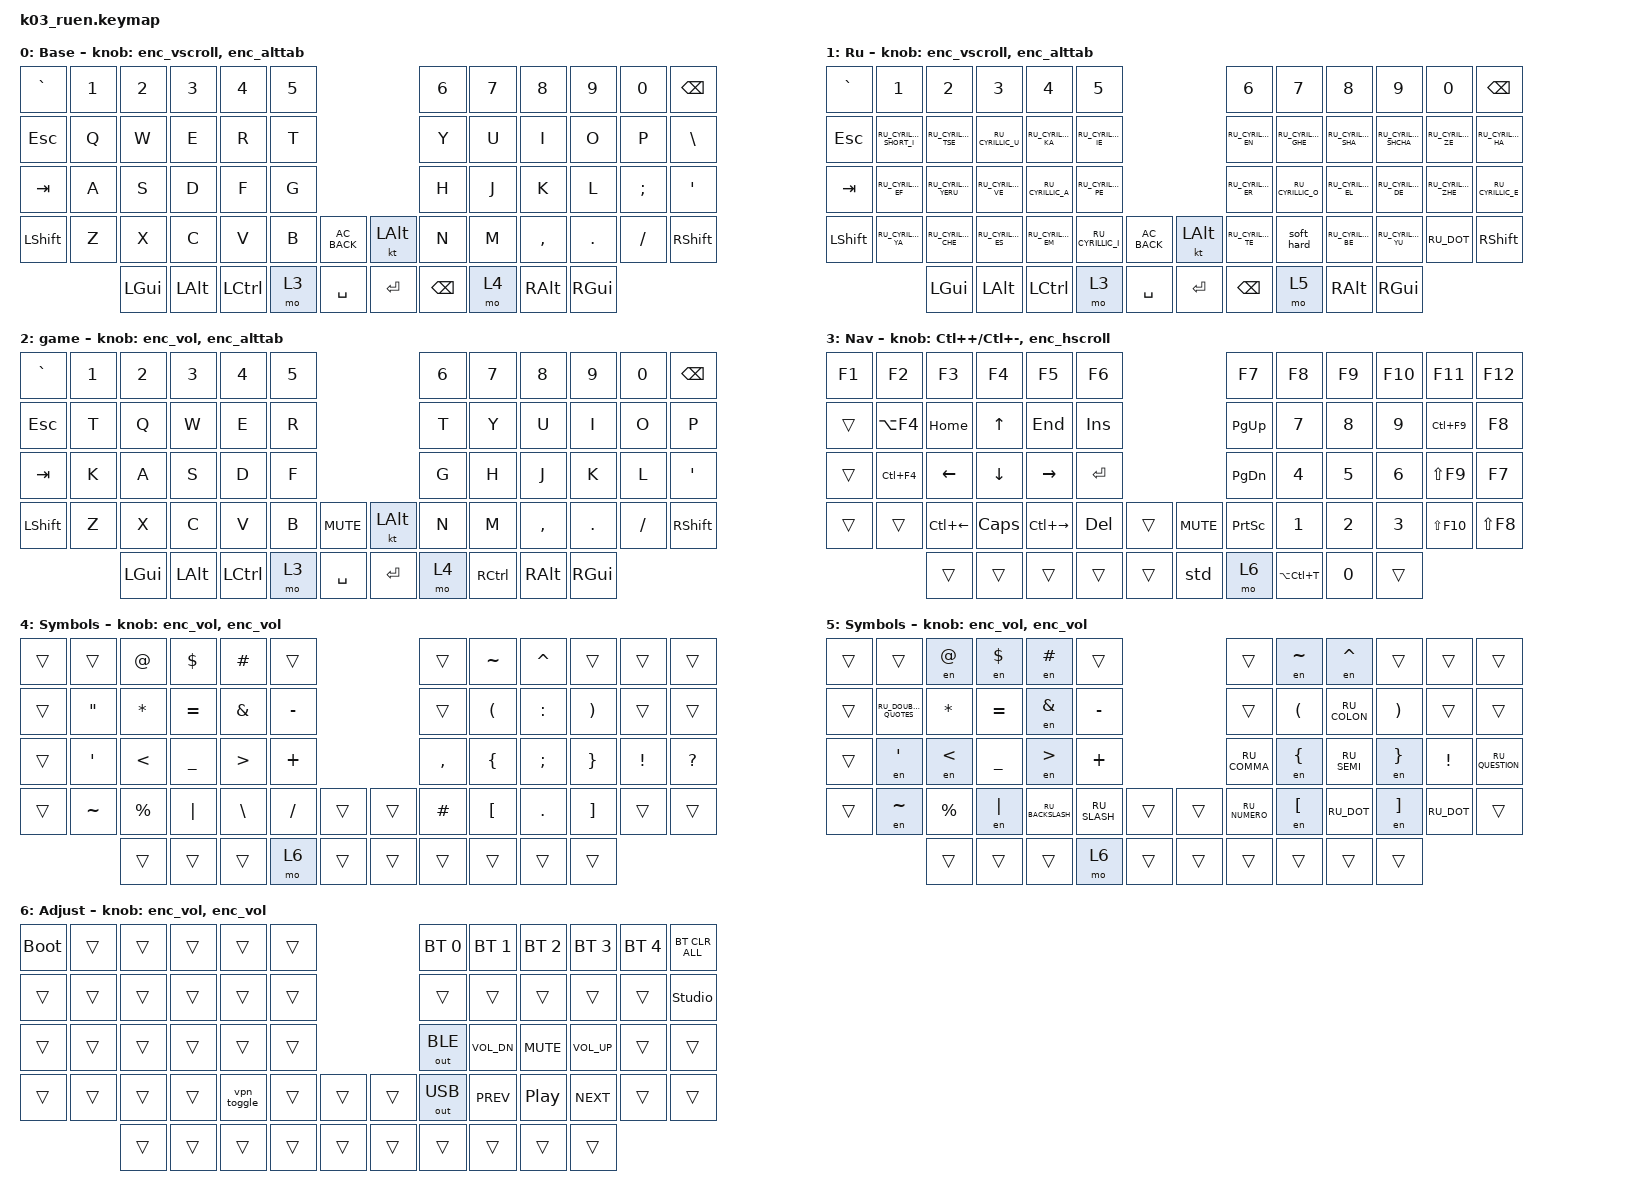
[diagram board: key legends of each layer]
#include "keys_ru.h"
#include <behaviors.dtsi>
#include <dt-bindings/zmk/bt.h>
#include <dt-bindings/zmk/keys.h>
#include <dt-bindings/zmk/outputs.h>
#include <dt-bindings/zmk/pointing.h>

/ {
    behaviors {
        enc_vol: enc_vol {
            compatible = "zmk,behavior-sensor-rotate";
            label = "ENC_VOL";
            #sensor-binding-cells = <0>;
            bindings = <&kp C_VOL_UP>, <&kp C_VOL_DN>;
        };

        enc_vscroll: enc_vscroll {
            compatible = "zmk,behavior-sensor-rotate";
            label = "ENC_VSCROLL";
            #sensor-binding-cells = <0>;
            tap-ms = <150>;
            bindings = <&msc SCRL_DOWN>, <&msc SCRL_UP>;
        };

        enc_alttab: enc_alttab {
            compatible = "zmk,behavior-sensor-rotate";
            label = "ENC_ALTTAB";
            #sensor-binding-cells = <0>;
            bindings = <&kp TAB>, <&kp LS(TAB)>;
        };

        caps_word: caps_word {
            compatible = "zmk,behavior-caps-word";
            label = "CAPS_WORD";
            #binding-cells = <0>;
            continue-list = <MINUS UNDERSCORE>;
            mods = <(MOD_LSFT|MOD_RSFT)>;
        };

        enc_hscroll: enc_hscroll {
            compatible = "zmk,behavior-sensor-rotate";
            label = "ENC_HSCROLL";
            #sensor-binding-cells = <0>;
            tap-ms = <150>;
            bindings = <&msc SCRL_RIGHT>, <&msc SCRL_LEFT>;
        };

        soft_hard: soft_hard {
            compatible = "zmk,behavior-tap-dance";
            label = "SOFT_HARD";
            #binding-cells = <0>;
            bindings = <&kp RU_CYRILLIC_SOFT_SIGN>, <&kp RU_CYRILLIC_HARD_SIGN>;
        };
    };

    combos {
        compatible = "zmk,combos";

        cmben {
            bindings = <&layer_en>;
            key-positions = <15 16>;
            layers = <1>;
            timeout-ms = <25>;
        };

        cmbru {
            bindings = <&layer_ru>;
            key-positions = <15 16>;
            layers = <0>;
            timeout-ms = <25>;
        };

        to_game {
            bindings = <&tog 2>;
            key-positions = <29 30>;
            timeout-ms = <25>;
        };

        caps_word {
            bindings = <&caps_word>;
            key-positions = <36 49>;
            layers = <0>;
        };

        caps_word_ru {
            bindings = <&kt LEFT_SHIFT>;
            key-positions = <36 49>;
            layers = <1>;
        };
    };

    macros {
        to_ru: to_ru {
            compatible = "zmk,behavior-macro";
            #binding-cells = <0>;
            bindings = <&kp LS(LC(N2))>;
            label = "TO_RU";
            wait-ms = <0>;
            tap-ms = <30>;
        };

        to_en: to_en {
            compatible = "zmk,behavior-macro";
            #binding-cells = <0>;
            bindings = <&kp LS(LC(N1))>;
            label = "TO_EN";
            wait-ms = <0>;
            tap-ms = <30>;
        };

        layer_en: layer_en {
            compatible = "zmk,behavior-macro";
            #binding-cells = <0>;
            bindings = <&to 0 &to_en>;
            label = "LAYER_EN";
            wait-ms = <0>;
            tap-ms = <30>;
        };

        layer_ru: layer_ru {
            compatible = "zmk,behavior-macro";
            #binding-cells = <0>;
            bindings = <&to 1 &to_ru>;
            label = "LAYER_RU";
            tap-ms = <30>;
            wait-ms = <0>;
        };

        en: en {
            compatible = "zmk,behavior-macro-one-param";
            #binding-cells = <1>;
            bindings =
                <&to_en>,
                <&macro_press>,
                <&macro_param_1to1 &kp MACRO_PLACEHOLDER>,
                <&macro_pause_for_release>,
                <&macro_release>,
                <&macro_param_1to1 &kp MACRO_PLACEHOLDER>,
                <&macro_tap>,
                <&to_ru>;

            label = "EN";
            wait-ms = <0>;
            tap-ms = <30>;
        };

        vpn_toggle: vpn_toggle {
            compatible = "zmk,behavior-macro";
            #binding-cells = <0>;
            bindings =
                <&layer_en &kp LEFT_GUI &kp LS(A) &kp M &kp N &kp E &kp Z &kp I &kp A &kp LS(V) &kp LS(P) &kp LS(N) &kp ENTER>,
                <&macro_wait_time 1500>,
                <&kp TAB &kp ENTER>;

            label = "VPN_TOGGLE";
        };

        std: std {
            compatible = "zmk,behavior-macro";
            #binding-cells = <0>;
            bindings = <&kp S &kp T &kp D &kp COLON &kp COLON>;
            label = "STD";
        };
    };

    keymap {
        compatible = "zmk,keymap";

        en {
            bindings = <
&kp GRAVE       &kp N1  &kp N2    &kp N3    &kp N4     &kp N5                                 &kp N6         &kp N7  &kp N8     &kp N9    &kp N0    &kp BSPC
&kp ESC         &kp Q   &kp W     &kp E     &kp R      &kp T                                  &kp Y          &kp U   &kp I      &kp O     &kp P     &kp BSLH
&kp TAB         &kp A   &kp S     &kp D     &kp F      &kp G                                  &kp H          &kp J   &kp K      &kp L     &kp SEMI  &kp SQT
&kp LEFT_SHIFT  &kp Z   &kp X     &kp C     &kp V      &kp B   &kp C_AC_BACK    &kt LEFT_ALT  &kp N          &kp M   &kp COMMA  &kp DOT   &kp FSLH  &kp RSHFT
                        &kp LGUI  &kp LALT  &kp LCTRL  &mo 3   &kp SPACE        &kp ENTER     &kp BACKSPACE  &mo 4   &kp RALT   &kp RGUI
            >;

            display-name = "Base";
            sensor-bindings = <&enc_vscroll>, <&enc_alttab>;
        };

        ru {
            display-name = "Ru";
            bindings = <
&kp GRAVE  &kp N1                   &kp N2                &kp N3              &kp N4              &kp N5                                             &kp N6              &kp N7               &kp N8               &kp N9                 &kp N0               &kp BSPC
&kp ESC    &kp RU_CYRILLIC_SHORT_I  &kp RU_CYRILLIC_TSE   &kp RU_CYRILLIC_U   &kp RU_CYRILLIC_KA  &kp RU_CYRILLIC_IE                                 &kp RU_CYRILLIC_EN  &kp RU_CYRILLIC_GHE  &kp RU_CYRILLIC_SHA  &kp RU_CYRILLIC_SHCHA  &kp RU_CYRILLIC_ZE   &kp RU_CYRILLIC_HA
&kp TAB    &kp RU_CYRILLIC_EF       &kp RU_CYRILLIC_YERU  &kp RU_CYRILLIC_VE  &kp RU_CYRILLIC_A   &kp RU_CYRILLIC_PE                                 &kp RU_CYRILLIC_ER  &kp RU_CYRILLIC_O    &kp RU_CYRILLIC_EL   &kp RU_CYRILLIC_DE     &kp RU_CYRILLIC_ZHE  &kp RU_CYRILLIC_E
&kp LSHFT  &kp RU_CYRILLIC_YA       &kp RU_CYRILLIC_CHE   &kp RU_CYRILLIC_ES  &kp RU_CYRILLIC_EM  &kp RU_CYRILLIC_I   &kp C_AC_BACK    &kt LEFT_ALT  &kp RU_CYRILLIC_TE  &soft_hard           &kp RU_CYRILLIC_BE   &kp RU_CYRILLIC_YU     &kp RU_DOT           &kp RSHFT
                                    &kp LGUI              &kp LALT            &kp LCTRL           &mo 3               &kp SPACE        &kp ENTER     &kp BACKSPACE       &mo 5                &kp RALT             &kp RGUI
            >;

            sensor-bindings = <&enc_vscroll>, <&enc_alttab>;
        };

        game {
            display-name = "game";
            bindings = <
&kp GRAVE  &kp N1  &kp N2    &kp N3    &kp N4     &kp N5                              &kp N6  &kp N7     &kp N8     &kp N9    &kp N0    &kp BSPC
&kp ESC    &kp T   &kp Q     &kp W     &kp E      &kp R                               &kp T   &kp Y      &kp U      &kp I     &kp O     &kp P
&kp TAB    &kp K   &kp A     &kp S     &kp D      &kp F                               &kp G   &kp H      &kp J      &kp K     &kp L     &kp SQT
&kp LSHFT  &kp Z   &kp X     &kp C     &kp V      &kp B   &kp C_MUTE    &kt LEFT_ALT  &kp N   &kp M      &kp COMMA  &kp DOT   &kp FSLH  &kp RSHFT
                   &kp LGUI  &kp LALT  &kp LCTRL  &mo 3   &kp SPACE     &kp ENTER     &mo 4   &kp RCTRL  &kp RALT   &kp RGUI
            >;

            sensor-bindings = <&enc_vol>, <&enc_alttab>;
        };

        nav {
            bindings = <
&kp F1  &kp F2      &kp F3        &kp F4    &kp F5         &kp F6                         &kp F7           &kp F8         &kp F9  &kp F10  &kp F11      &kp F12
&trans  &kp LA(F4)  &kp HOME      &kp UP    &kp END        &kp INS                        &kp PG_UP        &kp N7         &kp N8  &kp N9   &kp LC(F9)   &kp F8
&trans  &kp LC(F4)  &kp LEFT      &kp DOWN  &kp RIGHT      &kp RET                        &kp PG_DN        &kp N4         &kp N5  &kp N6   &kp LS(F9)   &kp F7
&trans  &trans      &kp LC(LEFT)  &kp CAPS  &kp LC(RIGHT)  &kp DEL  &trans    &kp C_MUTE  &kp PRINTSCREEN  &kp N1         &kp N2  &kp N3   &kp LS(F10)  &kp LS(F8)
                    &trans        &trans    &trans         &trans   &trans    &std        &mo 6            &kp LA(LC(T))  &kp N0  &trans
            >;

            display-name = "Nav";
            sensor-bindings = <&inc_dec_kp LC(PLUS) LC(MINUS)>, <&enc_hscroll>;
        };

        sym_en {
            bindings = <
&trans  &trans             &kp AT         &kp DLLR   &kp HASH          &trans                       &trans     &kp TILDE         &kp CARET  &trans             &trans    &trans
&trans  &kp DOUBLE_QUOTES  &kp ASTRK      &kp EQUAL  &kp AMPERSAND     &kp MINUS                    &trans     &kp LPAR          &kp COLON  &kp RPAR           &trans    &trans
&trans  &kp SINGLE_QUOTE   &kp LESS_THAN  &kp UNDER  &kp GREATER_THAN  &kp PLUS                     &kp COMMA  &kp LBRC          &kp SEMI   &kp RBRC           &kp EXCL  &kp QUESTION
&trans  &kp TILDE          &kp PERCENT    &kp PIPE   &kp BACKSLASH     &kp SLASH  &trans    &trans  &kp HASH   &kp LEFT_BRACKET  &kp DOT    &kp RIGHT_BRACKET  &trans    &trans
                           &trans         &trans     &trans            &mo 6      &trans    &trans  &trans     &trans            &trans     &trans
            >;

            display-name = "Symbols";
            sensor-bindings = <&enc_vol>, <&enc_vol>;
        };

        sym_ru {
            display-name = "Symbols";
            bindings = <
&trans  &trans                &en AT         &en DLLR   &en HASH          &trans                          &trans         &en TILDE             &en CARET     &trans                 &trans      &trans
&trans  &kp RU_DOUBLE_QUOTES  &kp STAR       &kp EQUAL  &en AMPERSAND     &kp MINUS                       &trans         &kp LEFT_PARENTHESIS  &kp RU_COLON  &kp RIGHT_PARENTHESIS  &trans      &trans
&trans  &en SINGLE_QUOTE      &en LESS_THAN  &kp UNDER  &en GREATER_THAN  &kp PLUS                        &kp RU_COMMA   &en LBRC              &kp RU_SEMI   &en RBRC               &kp EXCL    &kp RU_QUESTION
&trans  &en TILDE             &kp PERCENT    &en PIPE   &kp RU_BACKSLASH  &kp RU_SLASH  &trans    &trans  &kp RU_NUMERO  &en LEFT_BRACKET      &kp RU_DOT    &en RIGHT_BRACKET      &kp RU_DOT  &trans
                              &trans         &trans     &trans            &mo 6         &trans    &trans  &trans         &trans                &trans        &trans
            >;

            sensor-bindings = <&enc_vol>, <&enc_vol>;
        };

        adj {
            bindings = <
&bootloader  &trans  &trans  &trans  &trans       &trans                    &bt BT_SEL 0  &bt BT_SEL 1  &bt BT_SEL 2      &bt BT_SEL 3  &bt BT_SEL 4  &bt BT_CLR_ALL
&trans       &trans  &trans  &trans  &trans       &trans                    &trans        &trans        &trans            &trans        &trans        &studio_unlock
&trans       &trans  &trans  &trans  &trans       &trans                    &out OUT_BLE  &kp C_VOL_DN  &kp C_MUTE        &kp C_VOL_UP  &trans        &trans
&trans       &trans  &trans  &trans  &vpn_toggle  &trans  &trans    &trans  &out OUT_USB  &kp C_PREV    &kp C_PLAY_PAUSE  &kp C_NEXT    &trans        &trans
                     &trans  &trans  &trans       &trans  &trans    &trans  &trans        &trans        &trans            &trans
            >;

            display-name = "Adjust";
            sensor-bindings = <&enc_vol>, <&enc_vol>;
        };
    };
};
